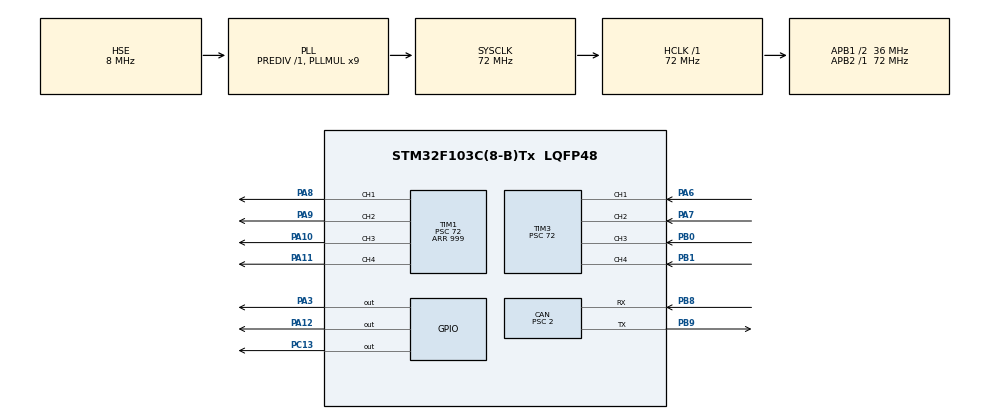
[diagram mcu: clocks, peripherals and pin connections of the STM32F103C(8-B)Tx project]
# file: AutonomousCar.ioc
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Mcu.Family=STM32F1
PA11.GPIO_Speed=GPIO_SPEED_FREQ_HIGH
NVIC.CAN1_RX1_IRQn=true\:0\:0\:false\:false\:true\:true\:true
SH.S_TIM1_CH4.0=TIM1_CH4,PWM Generation4 CH4
PA3.GPIO_PuPd=GPIO_PULLUP
NVIC.TIM1_UP_IRQn=true\:0\:0\:false\:false\:true\:true\:true
PA3.GPIO_Speed=GPIO_SPEED_FREQ_HIGH
RCC.SYSCLKSource=RCC_SYSCLKSOURCE_PLLCLK
ProjectManager.StackSize=0x400
PD1-OSC_OUT.Signal=RCC_OSC_OUT
TIM3.Channel-Input_Capture3_from_TI3=TIM_CHANNEL_3
PA12.Signal=GPIO_Output
CAN.Prescaler=2
TIM1.Prescaler=72
TIM1.Channel-PWM\ Generation4\ CH4=TIM_CHANNEL_4
RCC.HCLKFreq_Value=72000000
RCC.APB2TimFreq_Value=72000000
RCC.AHBFreq_Value=72000000
PA12.PinState=GPIO_PIN_RESET
TIM3.Channel-Input_Capture1_from_TI1=TIM_CHANNEL_1
RCC.PLLMUL=RCC_PLL_MUL9
PC13-TAMPER-RTC.PinState=GPIO_PIN_RESET
TIM1.Channel-PWM\ Generation1\ CH1=TIM_CHANNEL_1
PA14.Mode=Serial_Wire
TIM3.Prescaler=72
NVIC.TIM2_IRQn=true\:0\:0\:false\:false\:true\:true\:true
PA8.Signal=S_TIM1_CH1
SH.S_TIM3_CH1.0=TIM3_CH1,Input_Capture1_from_TI1
PC13-TAMPER-RTC.GPIO_Speed=GPIO_SPEED_FREQ_HIGH
CAN.CalculateTimeQuantum=55.55555555555556
VP_TIM1_VS_ClockSourceINT.Mode=Internal
Mcu.Package=LQFP48
PB9.Signal=CAN_TX
TIM2.Prescaler=72
PB1.Signal=S_TIM3_CH4
PA6.Signal=S_TIM3_CH1
PC13-TAMPER-RTC.GPIO_PuPd=GPIO_PULLUP
PA10.Signal=S_TIM1_CH3
PA10.GPIO_Speed=GPIO_SPEED_FREQ_HIGH
RCC.APB1TimFreq_Value=72000000
TIM1.Period=999
PA12.GPIO_PuPd=GPIO_PULLUP
PA8.GPIO_Speed=GPIO_SPEED_FREQ_HIGH
VP_TIM3_VS_ClockSourceINT.Mode=Internal
PA12.GPIO_Speed=GPIO_SPEED_FREQ_HIGH
PA3.Signal=GPIO_Output
RCC.PLLSourceVirtual=RCC_PLLSOURCE_HSE
PD1-OSC_OUT.Mode=HSE-External-Oscillator
TIM3.Channel-Input_Capture2_from_TI2=TIM_CHANNEL_2
TIM3.AutoReloadPreload=TIM_AUTORELOAD_PRELOAD_ENABLE
CAN.CalculateBaudRate=1000000
PC13-TAMPER-RTC.Signal=GPIO_Output
PD0-OSC_IN.Signal=RCC_OSC_IN
RCC.APB1CLKDivider=RCC_HCLK_DIV2
SH.S_TIM3_CH3.0=TIM3_CH3,Input_Capture3_from_TI3
CAN.CalculateTimeBit=999.99
PA13.Signal=SYS_JTMS-SWDIO
TIM1.AutoReloadPreload=TIM_AUTORELOAD_PRELOAD_ENABLE
CAN.BS2=CAN_BS2_5TQ
CAN.BS1=CAN_BS1_12TQ
SH.S_TIM1_CH1.0=TIM1_CH1,PWM Generation1 CH1
ProjectManager.TargetToolchain=STM32CubeIDE
PB9.Mode=CAN_Activate
PA9.Signal=S_TIM1_CH2
TIM1.Channel-PWM\ Generation2\ CH2=TIM_CHANNEL_2
RCC.USBFreq_Value=72000000
PD0-OSC_IN.Mode=HSE-External-Oscillator
SH.S_TIM3_CH2.0=TIM3_CH2,Input_Capture2_from_TI2
board=custom
NVIC.TIM3_IRQn=true\:0\:0\:false\:false\:true\:true\:true
RCC.APB2Freq_Value=72000000
VP_TIM2_VS_ClockSourceINT.Mode=Internal
SH.S_TIM1_CH2.0=TIM1_CH2,PWM Generation2 CH2
TIM3.Channel-Input_Capture4_from_TI4=TIM_CHANNEL_4
TIM2.Period=999
PA13.Mode=Serial_Wire
Mcu.Name=STM32F103C(8-B)Tx
NVIC.TIM1_CC_IRQn=true\:0\:0\:false\:false\:true\:true\:true
RCC.SYSCLKFreq_VALUE=72000000
PC13-TAMPER-RTC.GPIO_ModeDefaultOutputPP=GPIO_MODE_OUTPUT_PP
PA11.Signal=S_TIM1_CH4
PA14.Signal=SYS_JTCK-SWCLK
ProjectManager.HeapSize=0x200
SH.S_TIM1_CH3.0=TIM1_CH3,PWM Generation3 CH3
NVIC.PriorityGroup=NVIC_PRIORITYGROUP_4
PB8.Mode=CAN_Activate
PB8.Signal=CAN_RX
PA9.GPIO_Speed=GPIO_SPEED_FREQ_HIGH
PA3.PinState=GPIO_PIN_RESET
TIM3.ICFilter_CH1=10
TIM1.Channel-PWM\ Generation3\ CH3=TIM_CHANNEL_3
RCC.APB1Freq_Value=36000000
PB0.Signal=S_TIM3_CH3
SH.S_TIM3_CH4.0=TIM3_CH4,Input_Capture4_from_TI4
PA7.Signal=S_TIM3_CH2

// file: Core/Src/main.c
/* USER CODE BEGIN Header */
/**
  ******************************************************************************
  * @file           : main.c
  * @brief          : Main program body
  ******************************************************************************
  * @attention
  *
  * <h2><center>&copy; Copyright (c) 2021 STMicroelectronics.
  * All rights reserved.</center></h2>
  *
  * This software component is licensed by ST under BSD 3-Clause license,
  * the "License"; You may not use this file except in compliance with the
  * License. You may obtain a copy of the License at:
  *                        opensource.org/licenses/BSD-3-Clause
  *
  ******************************************************************************
  */
/* USER CODE END Header */
#include "main.h"

CAN_HandleTypeDef hcan;

TIM_HandleTypeDef htim1;
TIM_HandleTypeDef htim2;
TIM_HandleTypeDef htim3;

void SystemClock_Config(void);
static void MX_GPIO_Init(void);
static void MX_TIM1_Init(void);
static void MX_TIM3_Init(void);
static void MX_TIM2_Init(void);
static void MX_CAN_Init(void);

/* USER CODE BEGIN 0 */
float Vel_Feedback_Left=0;
float Vel_Feedback_Right=0;
float Vel_Setpoint_Left=0;
float Vel_Setpoint_Right=0;
uint16_t Vel_pwm_left=0;
uint16_t Vel_pwm_right=0;
float frequency_left=0;
float frequency_right=0;
uint8_t IC_State=0;
uint32_t IC_CNT_LEFT=0;
uint32_t IC_PRE_CNT_LEFT=0;
uint32_t IC_CNT_RIGHT=0;
uint32_t IC_PRE_CNT_RIGHT=0;
uint32_t cntx=0;

//=======================CAN=======================================

#define ID_AUTONOMOUSCAR 0x60

CAN_FilterTypeDef hcanfilter;

uint32_t filter_id=ID_AUTONOMOUSCAR;
uint32_t filter_mask=0xFFFFFFF0;

CAN_RxHeaderTypeDef RxMessage; //CAN Bus Receive Header
CAN_TxHeaderTypeDef TxMessage;

uint8_t CanTX_Message[8]={0};
uint8_t CanRX_Message[8]={0};

void CANbus_Transmit(uint32_t StdID, uint8_t can_DLC,uint8_t* can_Data)
{
	uint32_t TransmitMailbox;
	TxMessage.StdId=StdID;
	TxMessage.ExtId=0;
	TxMessage.RTR=CAN_RTR_DATA;
	TxMessage.DLC=can_DLC;
	TxMessage.IDE=CAN_ID_STD;
	TxMessage.TransmitGlobalTime = DISABLE;
	HAL_CAN_AddTxMessage(&hcan, &TxMessage, can_Data, &TransmitMailbox);
	uint32_t k=0;
	while((HAL_CAN_IsTxMessagePending(&hcan, TransmitMailbox) != 1) && (k!=0xFFFF))
	{
		k++;
	}
}
void HAL_CAN_RxFifo1MsgPendingCallback(CAN_HandleTypeDef *hcan)
{

	HAL_CAN_GetRxMessage(hcan, CAN_RX_FIFO1, &RxMessage, CanRX_Message); //Receive CAN bus message to canRX buffer

	if (( (uint8_t)RxMessage.StdId >= 0x60) && ( (uint8_t)RxMessage.StdId <= 0x6F))
	{
		HAL_GPIO_TogglePin(GPIOC, GPIO_PIN_13);

		//=========================================================================================
	}

}
//=======================CAN=======================================
//#define PIDCONTROL
extern void user_main(void);
extern void user_loop(void);
void HAL_TIM_PeriodElapsedCallback(TIM_HandleTypeDef *htim)
{
	if (htim->Instance == TIM2)
	{

#ifdef PIDCONTROL
		Vel_Setpoint_Left=150;
		Vel_Setpoint_Right=100;
		user_loop();
		__HAL_TIM_SetCompare(&htim1,TIM_CHANNEL_3,Vel_pwm_left);
		__HAL_TIM_SetCompare(&htim1,TIM_CHANNEL_1,Vel_pwm_right);
#endif

	}
}

void HAL_TIM_IC_CaptureCallback(TIM_HandleTypeDef *htim)
{
	if (htim->Instance == TIM3)
	{
		if (htim->Channel == HAL_TIM_ACTIVE_CHANNEL_2)
		{
			IC_CNT_LEFT=htim3.Instance->CNT;
			if (IC_CNT_LEFT > IC_PRE_CNT_LEFT)
			{
				frequency_left=1.0/(1.0*( IC_CNT_LEFT - IC_PRE_CNT_LEFT )*0.000001);
			}
			else if (IC_CNT_LEFT < IC_PRE_CNT_LEFT )
			{
				frequency_left=1.0/(1.0*( IC_CNT_LEFT + (65535-IC_PRE_CNT_LEFT) )*0.000001);
			}

			IC_PRE_CNT_LEFT=IC_CNT_LEFT;
			Vel_Feedback_Left=(1.0*frequency_left/374)*60;
		}
		if (htim->Channel == HAL_TIM_ACTIVE_CHANNEL_1)
		{
			IC_CNT_RIGHT=htim3.Instance->CNT;
			if (IC_CNT_RIGHT > IC_PRE_CNT_RIGHT)
			{
				frequency_right=1.0/(1.0*( IC_CNT_RIGHT - IC_PRE_CNT_RIGHT )*0.000001);
			}
			else if (IC_CNT_RIGHT < IC_PRE_CNT_RIGHT )
			{
				frequency_right=1.0/(1.0*( IC_CNT_RIGHT + (65535-IC_PRE_CNT_RIGHT) )*0.000001);
			}

			IC_PRE_CNT_RIGHT=IC_CNT_RIGHT;
			Vel_Feedback_Right=(1.0*frequency_right/374)*60;

		}
	}
}

/* USER CODE END 0 */

int main(void)
{

  /* MCU Configuration--------------------------------------------------------*/

  /* Reset of all peripherals, Initializes the Flash interface and the Systick. */
  HAL_Init();

  /* Configure the system clock */
  SystemClock_Config();

  /* Initialize all configured peripherals */
  MX_GPIO_Init();
  MX_TIM1_Init();
  MX_TIM3_Init();
  MX_TIM2_Init();
  MX_CAN_Init();
  /* USER CODE BEGIN 2 */
  HAL_TIM_Base_Start_IT(&htim2);
  HAL_TIM_PWM_Start(&htim1, TIM_CHANNEL_1);
  HAL_TIM_PWM_Start(&htim1, TIM_CHANNEL_2);
  HAL_TIM_PWM_Start(&htim1, TIM_CHANNEL_3);
  HAL_TIM_PWM_Start(&htim1, TIM_CHANNEL_4);
  HAL_TIM_IC_Start_IT(&htim3, TIM_CHANNEL_1);
  HAL_TIM_IC_Start_IT(&htim3, TIM_CHANNEL_2);

  __HAL_TIM_SetCompare(&htim1,TIM_CHANNEL_1,0);
  __HAL_TIM_SetCompare(&htim1,TIM_CHANNEL_2,0);
  __HAL_TIM_SetCompare(&htim1,TIM_CHANNEL_3,0);
  __HAL_TIM_SetCompare(&htim1,TIM_CHANNEL_4,0);
  user_main();
  HAL_GPIO_WritePin(GPIOA, GPIO_PIN_3, GPIO_PIN_SET);
  /* USER CODE END 2 */

  /* Infinite loop */
  while (1)
  {

    /* USER CODE BEGIN 3 */

	  //HAL_Delay(1000);
  }
  /* USER CODE END 3 */
}

void SystemClock_Config(void)
{
  RCC_OscInitTypeDef RCC_OscInitStruct = {0};
  RCC_ClkInitTypeDef RCC_ClkInitStruct = {0};

  /** Initializes the RCC Oscillators according to the specified parameters
  * in the RCC_OscInitTypeDef structure.
  */
  RCC_OscInitStruct.OscillatorType = RCC_OSCILLATORTYPE_HSE;
  RCC_OscInitStruct.HSEState = RCC_HSE_ON;
  RCC_OscInitStruct.HSEPredivValue = RCC_HSE_PREDIV_DIV1;
  RCC_OscInitStruct.HSIState = RCC_HSI_ON;
  RCC_OscInitStruct.PLL.PLLState = RCC_PLL_ON;
  RCC_OscInitStruct.PLL.PLLSource = RCC_PLLSOURCE_HSE;
  RCC_OscInitStruct.PLL.PLLMUL = RCC_PLL_MUL9;
  if (HAL_RCC_OscConfig(&RCC_OscInitStruct) != HAL_OK)
  {
    Error_Handler();
  }
  /** Initializes the CPU, AHB and APB buses clocks
  */
  RCC_ClkInitStruct.ClockType = RCC_CLOCKTYPE_HCLK|RCC_CLOCKTYPE_SYSCLK
                              |RCC_CLOCKTYPE_PCLK1|RCC_CLOCKTYPE_PCLK2;
  RCC_ClkInitStruct.SYSCLKSource = RCC_SYSCLKSOURCE_PLLCLK;
  RCC_ClkInitStruct.AHBCLKDivider = RCC_SYSCLK_DIV1;
  RCC_ClkInitStruct.APB1CLKDivider = RCC_HCLK_DIV2;
  RCC_ClkInitStruct.APB2CLKDivider = RCC_HCLK_DIV1;

  if (HAL_RCC_ClockConfig(&RCC_ClkInitStruct, FLASH_LATENCY_2) != HAL_OK)
  {
    Error_Handler();
  }
}

static void MX_CAN_Init(void)
{

  hcan.Instance = CAN1;
  hcan.Init.Prescaler = 2;
  hcan.Init.Mode = CAN_MODE_NORMAL;
  hcan.Init.SyncJumpWidth = CAN_SJW_1TQ;
  hcan.Init.TimeSeg1 = CAN_BS1_12TQ;
  hcan.Init.TimeSeg2 = CAN_BS2_5TQ;
  hcan.Init.TimeTriggeredMode = DISABLE;
  hcan.Init.AutoBusOff = DISABLE;
  hcan.Init.AutoWakeUp = DISABLE;
  hcan.Init.AutoRetransmission = DISABLE;
  hcan.Init.ReceiveFifoLocked = DISABLE;
  hcan.Init.TransmitFifoPriority = DISABLE;
  if (HAL_CAN_Init(&hcan) != HAL_OK)
  {
    Error_Handler();
  }
  /* USER CODE BEGIN CAN_Init 2 */
  hcanfilter.FilterActivation=CAN_FILTER_ENABLE;

  hcanfilter.FilterMode=CAN_FILTERMODE_IDMASK;

  hcanfilter.FilterScale=CAN_FILTERSCALE_32BIT;

  hcanfilter.FilterMaskIdHigh=((filter_mask << 5)  | (filter_mask >> (32 - 5))) & 0xFFFF;

  hcanfilter.FilterMaskIdLow =(filter_mask >> (11 - 3)) & 0xFFF8;

  hcanfilter.FilterBank=12;

  hcanfilter.FilterIdHigh=((filter_id << 5)|(filter_id >> (32 - 5))) & 0xFFFF;// STID[10:0] & EXTID[17:13];

  hcanfilter.FilterIdLow =(filter_id >> (11 - 3)) & 0xFFF8; // EXID[12:5] & 3 Reserved bits;

  hcanfilter.FilterFIFOAssignment=CAN_FILTER_FIFO1;
  hcanfilter.SlaveStartFilterBank=14;
  HAL_CAN_ConfigFilter(&hcan,&hcanfilter); //Initialize CAN Filter
  HAL_CAN_Start(&hcan); //Initialize CAN Bus
  HAL_CAN_ActivateNotification(&hcan,CAN_IT_RX_FIFO1_MSG_PENDING);// Initialize

  /* USER CODE END CAN_Init 2 */

}

static void MX_TIM1_Init(void)
{

  TIM_ClockConfigTypeDef sClockSourceConfig = {0};
  TIM_MasterConfigTypeDef sMasterConfig = {0};
  TIM_OC_InitTypeDef sConfigOC = {0};
  TIM_BreakDeadTimeConfigTypeDef sBreakDeadTimeConfig = {0};

  htim1.Instance = TIM1;
  htim1.Init.Prescaler = 72;
  htim1.Init.CounterMode = TIM_COUNTERMODE_UP;
  htim1.Init.Period = 999;
  htim1.Init.ClockDivision = TIM_CLOCKDIVISION_DIV1;
  htim1.Init.RepetitionCounter = 0;
  htim1.Init.AutoReloadPreload = TIM_AUTORELOAD_PRELOAD_ENABLE;
  if (HAL_TIM_Base_Init(&htim1) != HAL_OK)
  {
    Error_Handler();
  }
  sClockSourceConfig.ClockSource = TIM_CLOCKSOURCE_INTERNAL;
  if (HAL_TIM_ConfigClockSource(&htim1, &sClockSourceConfig) != HAL_OK)
  {
    Error_Handler();
  }
  if (HAL_TIM_PWM_Init(&htim1) != HAL_OK)
  {
    Error_Handler();
  }
  sMasterConfig.MasterOutputTrigger = TIM_TRGO_RESET;
  sMasterConfig.MasterSlaveMode = TIM_MASTERSLAVEMODE_DISABLE;
  if (HAL_TIMEx_MasterConfigSynchronization(&htim1, &sMasterConfig) != HAL_OK)
  {
    Error_Handler();
  }
  sConfigOC.OCMode = TIM_OCMODE_PWM1;
  sConfigOC.Pulse = 0;
  sConfigOC.OCPolarity = TIM_OCPOLARITY_HIGH;
  sConfigOC.OCNPolarity = TIM_OCNPOLARITY_HIGH;
  sConfigOC.OCFastMode = TIM_OCFAST_DISABLE;
  sConfigOC.OCIdleState = TIM_OCIDLESTATE_RESET;
  sConfigOC.OCNIdleState = TIM_OCNIDLESTATE_RESET;
  if (HAL_TIM_PWM_ConfigChannel(&htim1, &sConfigOC, TIM_CHANNEL_1) != HAL_OK)
  {
    Error_Handler();
  }
  if (HAL_TIM_PWM_ConfigChannel(&htim1, &sConfigOC, TIM_CHANNEL_2) != HAL_OK)
  {
    Error_Handler();
  }
  if (HAL_TIM_PWM_ConfigChannel(&htim1, &sConfigOC, TIM_CHANNEL_3) != HAL_OK)
  {
    Error_Handler();
  }
  if (HAL_TIM_PWM_ConfigChannel(&htim1, &sConfigOC, TIM_CHANNEL_4) != HAL_OK)
  {
    Error_Handler();
  }
  sBreakDeadTimeConfig.OffStateRunMode = TIM_OSSR_DISABLE;
  sBreakDeadTimeConfig.OffStateIDLEMode = TIM_OSSI_DISABLE;
  sBreakDeadTimeConfig.LockLevel = TIM_LOCKLEVEL_OFF;
  sBreakDeadTimeConfig.DeadTime = 0;
  sBreakDeadTimeConfig.BreakState = TIM_BREAK_DISABLE;
  sBreakDeadTimeConfig.BreakPolarity = TIM_BREAKPOLARITY_HIGH;
  sBreakDeadTimeConfig.AutomaticOutput = TIM_AUTOMATICOUTPUT_DISABLE;
  if (HAL_TIMEx_ConfigBreakDeadTime(&htim1, &sBreakDeadTimeConfig) != HAL_OK)
  {
    Error_Handler();
  }
  HAL_TIM_MspPostInit(&htim1);

}

static void MX_TIM2_Init(void)
{

  TIM_ClockConfigTypeDef sClockSourceConfig = {0};
  TIM_MasterConfigTypeDef sMasterConfig = {0};

  htim2.Instance = TIM2;
  htim2.Init.Prescaler = 72;
  htim2.Init.CounterMode = TIM_COUNTERMODE_UP;
  htim2.Init.Period = 999;
  htim2.Init.ClockDivision = TIM_CLOCKDIVISION_DIV1;
  htim2.Init.AutoReloadPreload = TIM_AUTORELOAD_PRELOAD_DISABLE;
  if (HAL_TIM_Base_Init(&htim2) != HAL_OK)
  {
    Error_Handler();
  }
  sClockSourceConfig.ClockSource = TIM_CLOCKSOURCE_INTERNAL;
  if (HAL_TIM_ConfigClockSource(&htim2, &sClockSourceConfig) != HAL_OK)
  {
    Error_Handler();
  }
  sMasterConfig.MasterOutputTrigger = TIM_TRGO_RESET;
  sMasterConfig.MasterSlaveMode = TIM_MASTERSLAVEMODE_DISABLE;
  if (HAL_TIMEx_MasterConfigSynchronization(&htim2, &sMasterConfig) != HAL_OK)
  {
    Error_Handler();
  }

}

static void MX_TIM3_Init(void)
{

  TIM_ClockConfigTypeDef sClockSourceConfig = {0};
  TIM_MasterConfigTypeDef sMasterConfig = {0};
  TIM_IC_InitTypeDef sConfigIC = {0};

  htim3.Instance = TIM3;
  htim3.Init.Prescaler = 72;
  htim3.Init.CounterMode = TIM_COUNTERMODE_UP;
  htim3.Init.Period = 65535;
  htim3.Init.ClockDivision = TIM_CLOCKDIVISION_DIV1;
  htim3.Init.AutoReloadPreload = TIM_AUTORELOAD_PRELOAD_ENABLE;
  if (HAL_TIM_Base_Init(&htim3) != HAL_OK)
  {
    Error_Handler();
  }
  sClockSourceConfig.ClockSource = TIM_CLOCKSOURCE_INTERNAL;
  if (HAL_TIM_ConfigClockSource(&htim3, &sClockSourceConfig) != HAL_OK)
  {
    Error_Handler();
  }
  if (HAL_TIM_IC_Init(&htim3) != HAL_OK)
  {
    Error_Handler();
  }
  sMasterConfig.MasterOutputTrigger = TIM_TRGO_RESET;
  sMasterConfig.MasterSlaveMode = TIM_MASTERSLAVEMODE_DISABLE;
  if (HAL_TIMEx_MasterConfigSynchronization(&htim3, &sMasterConfig) != HAL_OK)
  {
    Error_Handler();
  }
  sConfigIC.ICPolarity = TIM_INPUTCHANNELPOLARITY_RISING;
  sConfigIC.ICSelection = TIM_ICSELECTION_DIRECTTI;
  sConfigIC.ICPrescaler = TIM_ICPSC_DIV1;
  sConfigIC.ICFilter = 10;
  if (HAL_TIM_IC_ConfigChannel(&htim3, &sConfigIC, TIM_CHANNEL_1) != HAL_OK)
  {
    Error_Handler();
  }
  sConfigIC.ICFilter = 0;
  if (HAL_TIM_IC_ConfigChannel(&htim3, &sConfigIC, TIM_CHANNEL_2) != HAL_OK)
  {
    Error_Handler();
  }
  if (HAL_TIM_IC_ConfigChannel(&htim3, &sConfigIC, TIM_CHANNEL_3) != HAL_OK)
  {
    Error_Handler();
  }
  if (HAL_TIM_IC_ConfigChannel(&htim3, &sConfigIC, TIM_CHANNEL_4) != HAL_OK)
  {
    Error_Handler();
  }

}

static void MX_GPIO_Init(void)
{
  GPIO_InitTypeDef GPIO_InitStruct = {0};

  /* GPIO Ports Clock Enable */
  __HAL_RCC_GPIOC_CLK_ENABLE();
  __HAL_RCC_GPIOD_CLK_ENABLE();
  __HAL_RCC_GPIOA_CLK_ENABLE();
  __HAL_RCC_GPIOB_CLK_ENABLE();

  /*Configure GPIO pin Output Level */
  HAL_GPIO_WritePin(GPIOC, GPIO_PIN_13, GPIO_PIN_RESET);

  /*Configure GPIO pin Output Level */
  HAL_GPIO_WritePin(GPIOA, GPIO_PIN_3|GPIO_PIN_12, GPIO_PIN_RESET);

  /*Configure GPIO pin : PC13 */
  GPIO_InitStruct.Pin = GPIO_PIN_13;
  GPIO_InitStruct.Mode = GPIO_MODE_OUTPUT_PP;
  GPIO_InitStruct.Pull = GPIO_PULLUP;
  GPIO_InitStruct.Speed = GPIO_SPEED_FREQ_HIGH;
  HAL_GPIO_Init(GPIOC, &GPIO_InitStruct);

  /*Configure GPIO pins : PA3 PA12 */
  GPIO_InitStruct.Pin = GPIO_PIN_3|GPIO_PIN_12;
  GPIO_InitStruct.Mode = GPIO_MODE_OUTPUT_PP;
  GPIO_InitStruct.Pull = GPIO_PULLUP;
  GPIO_InitStruct.Speed = GPIO_SPEED_FREQ_HIGH;
  HAL_GPIO_Init(GPIOA, &GPIO_InitStruct);

}

void Error_Handler(void)
{
  __disable_irq();
  while (1)
  {
  }
}

/************************ (C) COPYRIGHT STMicroelectronics *****END OF FILE****/
